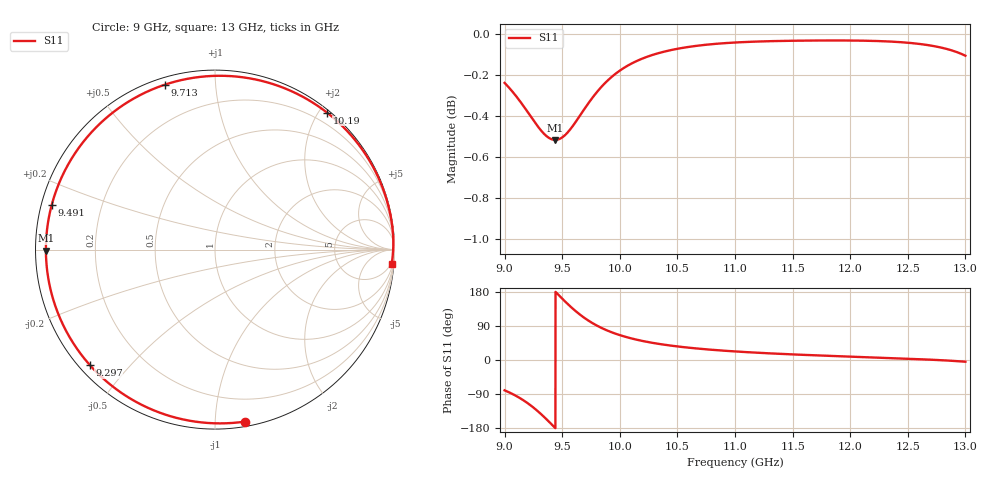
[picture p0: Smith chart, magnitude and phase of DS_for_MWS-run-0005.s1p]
! TOUCHSTONE file generated by CST DESIGN STUDIO
! Date and time: Tue Feb  4 17:12:49 2025
! Project name: C:\Work\MatlabApps\UnitCellOptimizationMatlab\CST\unitcell.cst
! Tree item: Tasks\Sweep1\SPara1\S-Parameters
! Header version: 2024
! Port assignment regex: !\s*Touchstone port\s*([0-9]+)\s*=\s*(CST MWS port|CST DES external port|CST DES block port)\s*(.+)\s* \(\"(.*)\"\)(\s*mode\s*([0-9]+))?.*
! Touchstone port assignment:
! Touchstone port 1 = CST DES external port 1 ("")
# GHz S MA R 50
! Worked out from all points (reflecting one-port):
!   4001 points, 9 GHz to 13 GHz, reference 50 ohm
!   lowest |S11| = -0.5 dB at 9.44 GHz (marker M1), VSWR 33.60, Z = 1.49 - j0.163 ohm
!   phase of S11 starts at -80 deg and turns -284 deg over the sweep
!   S11 on the Smith chart (normalised r, x): 9 GHz: 0.03, -1.19; 9.297 GHz: 0.03, -0.39; 9.491 GHz: 0.03, +0.13; 9.713 GHz: 0.03, +0.74; 10.19 GHz: 0.04, +2.11; 13 GHz: 4, -25
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9  0.9727 -80.1
9.093  0.9661 -93.6
9.168  0.9599 -107.2
9.234  0.954 -121.6
9.297  0.9486 -137.5
9.374  0.9437 -159.4
9.408  0.9426 -169.7
9.44  0.9422 -179.6
9.491  0.9432 164.6
9.5  0.9435 161.9
9.555  0.9467 145.7
9.606  0.9508 131.7
9.658  0.9555 118.9
9.713  0.9605 106.9
9.778  0.966 94.6
9.854  0.9715 82.8
9.925  0.9758 73.7
10  0.9794 65.6
10.09  0.9829 57.8
10.19  0.9859 50.7
10.332  0.989 42.8
10.5  0.9915 35.8
10.723  0.9936 28.9
11  0.995 22.6
11.5  0.996 14.8
12  0.9961 8.9
12.5  0.9949 3.4
13  0.9876 -4.5
